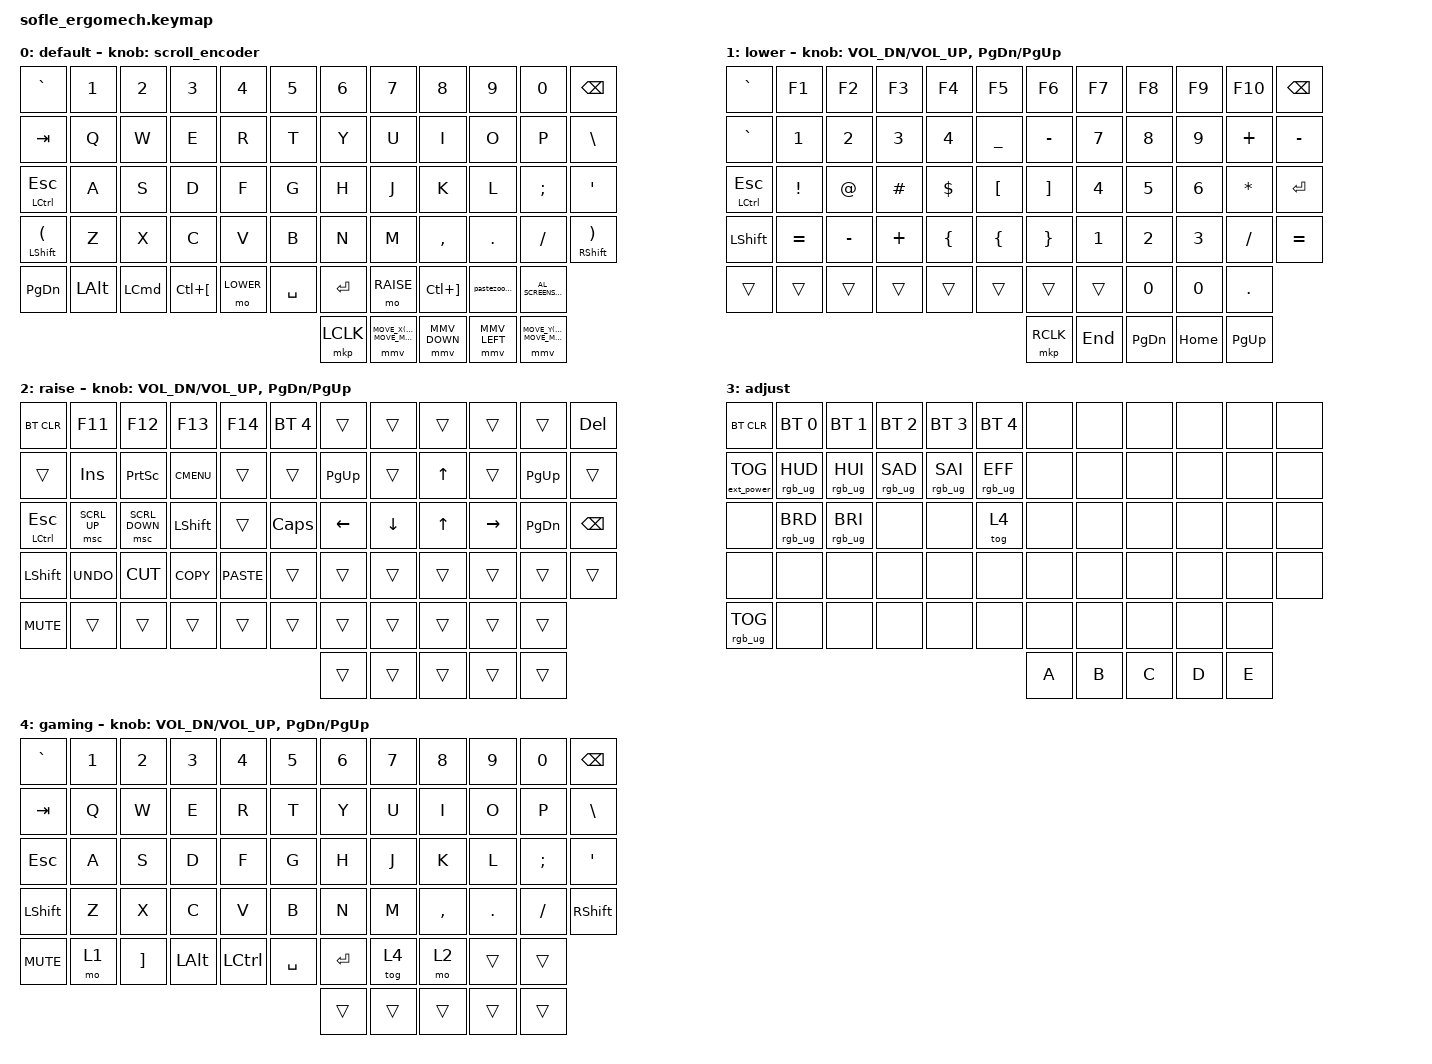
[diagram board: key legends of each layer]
/*
 * Copyright (c) 2020 The ZMK Contributors
 *
 * SPDX-License-Identifier: MIT
 */

#define ZMK_MOUSE_SCRL_VAL 200

#include <dt-bindings/zmk/mouse.h>
#include <behaviors.dtsi>
#include <dt-bindings/zmk/bt.h>
#include <dt-bindings/zmk/ext_power.h>
#include <dt-bindings/zmk/keys.h>
#include <dt-bindings/zmk/pointing.h>
#include <dt-bindings/zmk/rgb.h>

#define BASE 0
#define LOWER 1
#define RAISE 2
#define ADJUST 3
#define GAMING 4
#define TAP_MS 20

#undef MMV_UP
#undef MMV_DOWN
#undef MMV_LEFT
#undef MMV_RIGHT

#undef SCROLL_UP
#undef SCROLL_DOWN
#undef SCROLL_LEFT
#undef SCROLL_RIGHT

#define U_MOUSE_MOVE_MAX 3000
#define U_MOUSE_MOVE_DELAY 0
#define U_MOUSE_MOVE_EXPONENT 1
#define U_MOUSE_MOVE_TIME 220
#define U_MOUSE_SCROLL_MAX 100
#define U_MOUSE_SCROLL_DELAY 0
#define U_MOUSE_SCROLL_EXPONENT 1
#define U_MOUSE_SCROLL_TIME 0
#define MMV_UP 	    MOVE_Y(U_MOUSE_MOVE_MAX)
#define MMV_DOWN 	MOVE_Y(-U_MOUSE_MOVE_MAX)
#define MMV_LEFT 	MOVE_X(-U_MOUSE_MOVE_MAX)
#define MMV_RIGHT 	MOVE_X(U_MOUSE_MOVE_MAX)
#define SCROLL_UP 		MOVE_Y(U_MOUSE_SCROLL_MAX)
#define SCROLL_DOWN 	MOVE_Y(-U_MOUSE_SCROLL_MAX)
#define SCROLL_LEFT 	MOVE_X(-U_MOUSE_SCROLL_MAX)
#define SCROLL_RIGHT 	MOVE_X(U_MOUSE_SCROLL_MAX)
#define MWH_U 	&msc 	SCROLL_UP
#define MWH_D 	&msc 	SCROLL_DOWN
#define MWH_L	&msc 	SCROLL_LEFT
#define MWH_R 	&msc 	SCROLL_RIGHT

&mmv {
    delay-ms = <U_MOUSE_MOVE_DELAY>;
    acceleration-exponent = <U_MOUSE_MOVE_EXPONENT>;
    time-to-max-speed-ms = <U_MOUSE_MOVE_TIME>;
};

&msc {
    delay-ms = <U_MOUSE_SCROLL_DELAY>;
    acceleration-exponent = <U_MOUSE_SCROLL_EXPONENT>;
    time-to-max-speed-ms = <U_MOUSE_SCROLL_TIME>;
};

/ {
    // Activate ADJUST layer by pressing raise and lower

    behaviors {
        scroll_encoder: scroll_encoder {
            compatible = "zmk,behavior-sensor-rotate";
            #sensor-binding-cells = <0>;
            bindings = <&msc SCROLL_DOWN>, <&msc SCROLL_UP>;

            tap-ms = <TAP_MS>;
        };

        inc_dec_mwh: behavior_sensor_rotate_mouse_wheel {
            compatible = "zmk,behavior-sensor-rotate-var";
            label = "ENC_MOUSE_WHEEL";
            #sensor-binding-cells = <2>;
            bindings = <&msc>, <&msc>;

            tap-ms = <TAP_MS>;
        };
    };

    conditional_layers {
        compatible = "zmk,conditional-layers";

        adjust_layer {
            if-layers = <LOWER RAISE>;
            then-layer = <ADJUST>;
        };
    };

    macros {
        pastezoomlink: pastezoomlink {
            compatible = "zmk,behavior-macro";
            #binding-cells = <0>;
            bindings =
                <&none &kp H &kp T &kp T &kp P &kp S &kp COLON &kp FSLH &kp FSLH &kp L &kp A &kp T &kp T &kp I &kp C &kp E &kp H &kp Q &kp DOT &kp Z &kp O &kp O &kp M &kp DOT &kp U &kp S &kp FSLH &kp J &kp FSLH &kp N9 &kp N4 &kp N3 &kp N0 &kp N8 &kp N2 &kp N8 &kp N1 &kp N7 &kp N5 &kp N7 &kp QMARK &kp P &kp W &kp D &kp EQUAL &kp O &kp P &kp I &kp LS(N) &kp N &kp N4 &kp F &kp LS(J) &kp K &kp LS(H) &kp X &kp LS(A) &kp P &kp T &kp H &kp LS(T) &kp H &kp N &kp LS(O) &kp N6 &kp LS(F) &kp Y &kp A &kp G &kp N &kp LS(G) &kp K &kp LS(F) &kp LS(U) &kp G &kp DOT &kp N1>,
                <&macro_release>;

            label = "PASTEZOOMLINK";
        };
    };

    keymap {
        compatible = "zmk,keymap";

        default_layer {
            label = "default";

            // ------------------------------------------------------------------------------------------------------------
            // |   `   |  1  |  2  |  3   |  4   |  5   |                   |  6   |  7    |  8    |  9   |   0   |       |
            // |  ESC  |  Q  |  W  |  E   |  R   |  T   |                   |  Y   |  U    |  I    |  O   |   P   | BKSPC |
            // |  TAB  |  A  |  S  |  D   |  F   |  G   |                   |  H   |  J    |  K    |  L   |   ;   |   '   |
            // | SHIFT |  Z  |  X  |  C   |  V   |  B   |  MUTE  |  |       |  N   |  M    |  ,    |  .   |   /   | SHIFT |
            //               | GUI | ALT  | CTRL | LOWER|  ENTER |  | SPACE | RAISE| CTRL  | ALT   | GUI  |

            bindings = <
&kp GRAVE             &kp N1        &kp N2            &kp N3                &kp N4     &kp N5     &kp N6     &kp N7          &kp N8                 &kp N9          &kp N0                &kp BACKSPACE
&kp TAB               &kp Q         &kp W             &kp E                 &kp R      &kp T      &kp Y      &kp U           &kp I                  &kp O           &kp P                 &kp BSLH
&mt LEFT_CONTROL ESC  &kp A         &kp S             &kp D                 &kp F      &kp G      &kp H      &kp J           &kp K                  &kp L           &kp SEMI              &kp SQT
&mt LSHFT LPAR        &kp Z         &kp X             &kp C                 &kp V      &kp B      &kp N      &kp M           &kp COMMA              &kp DOT         &kp FSLH              &mt RIGHT_SHIFT RPAR
&kp PAGE_DOWN         &kp LEFT_ALT  &kp LEFT_COMMAND  &kp LC(LEFT_BRACKET)  &mo LOWER  &kp SPACE  &kp ENTER  &mo RAISE       &kp LC(RIGHT_BRACKET)  &pastezoomlink  &kp C_AL_SCREENSAVER
                                                                                                  &mkp LCLK  &mmv MMV_RIGHT  &mmv MMV_DOWN          &mmv MMV_LEFT   &mmv MMV_UP
            >;

            sensor-bindings = <&scroll_encoder>;

            // <&inc_dec_mwh SCROLL_DOWN SCROLL_UP &inc_dec_mwh SCROLL_RIGHT SCROLL_LEFT>;;
            //<&inc_dec_kp C_AC_SCROLL_DOWN C_AC_SCROLL_UP>,
            //<&inc_dec_kp PG_DN PG_UP>;
            // TODO: update this when ZMK supports scroll bindings
            // sensor-bindings = <&inc_dec_kp C_AC_SCROLL_DOWN C_AC_SCROLL_UP &inc_dec_kp PG_DN PG_UP>;
        };

        lower_layer {
            label = "lower";

            // TODO: Some binds are waiting for shifted keycode support.
            // ------------------------------------------------------------------------------------------------------------
            // |       |  F1 |  F2 |  F3  |  F4  |  F5  |                   |  F6  |  F7   |  F8   |  F9  |  F10  |  F11  |
            // |   `   |  1  |  2  |  3   |  4   |  5   |                   |  6   |  7    |  8    |  9   |   0   |  F12  |
            // |       |  !  |  @  |  #   |  $   |  %   |                   |  ^   |  &    |  *    |  (   |   )   |   |   |
            // |       |  =  |  -  |  +   |  {   |  }   |        |  |       |  [   |  ]    |  ;    |  :   |   \   |       |
            //               |     |      |      |      |        |  |       |      |       |       |      |

            bindings = <
&kp GRAVE             &kp F1     &kp F2     &kp F3    &kp F4    &kp F5            &kp F6             &kp F7   &kp F8         &kp F9    &kp F10       &kp BACKSPACE
&kp GRAVE             &kp N1     &kp N2     &kp N3    &kp N4    &kp UNDERSCORE    &kp MINUS          &kp N7   &kp N8         &kp N9    &kp PLUS      &kp MINUS
&mt LEFT_CONTROL ESC  &kp EXCL   &kp AT     &kp HASH  &kp DLLR  &kp LEFT_BRACKET  &kp RIGHT_BRACKET  &kp N4   &kp N5         &kp N6    &kp ASTERISK  &kp ENTER
&kp LEFT_SHIFT        &kp EQUAL  &kp MINUS  &kp PLUS  &kp LBRC  &kp LEFT_BRACE    &kp RIGHT_BRACE    &kp N1   &kp N2         &kp N3    &kp SLASH     &kp EQUAL
&trans                &trans     &trans     &trans    &trans    &trans            &trans             &trans   &kp N0         &kp N0    &kp PERIOD
                                                                                  &mkp RCLK          &kp END  &kp PAGE_DOWN  &kp HOME  &kp PAGE_UP
            >;

            // sensor-bindings = <&inc_dec_kp C_VOL_UP C_VOL_DN &inc_dec_kp PG_UP PG_DN>;

            sensor-bindings = <&inc_dec_kp C_VOL_DN C_VOL_UP &inc_dec_kp PG_DN PG_UP>;
        };

        raise_layer {
            label = "raise";

            // ------------------------------------------------------------------------------------------------------------
            // | BTCLR | BT1  | BT2  |  BT3  |  BT4  |  BT5 |                |      |      |       |      |       |       |
            // |       | INS  | PSCR | GUI   |       |      |                | PGUP |      |   ^   |      |       |       |
            // |       | ALT  | CTRL | SHIFT |       | CAPS |                | PGDN |   <- |   v   |  ->  |  DEL  | BKSPC |
            // |       | UNDO | CUT  | COPY  | PASTE |      |      |  |      |      |      |       |      |       |       |
            //                |      |       |       |      |      |  |      |      |      |       |      |

            bindings = <
&bt BT_CLR            &kp F11       &kp F12         &kp F13      &kp F14      &bt BT_SEL 4  &trans     &trans    &trans  &trans     &trans         &kp DEL
&trans                &kp INS       &kp PSCRN       &kp K_CMENU  &trans       &trans        &kp PG_UP  &trans    &kp UP  &trans     &kp PAGE_UP    &trans
&mt LEFT_CONTROL ESC  &msc SCRL_UP  &msc SCRL_DOWN  &kp LSHFT    &trans       &kp CLCK      &kp LEFT   &kp DOWN  &kp UP  &kp RIGHT  &kp PAGE_DOWN  &kp BSPC
&kp LEFT_SHIFT        &kp K_UNDO    &kp K_CUT       &kp K_COPY   &kp K_PASTE  &trans        &trans     &trans    &trans  &trans     &trans         &trans
&kp C_MUTE            &trans        &trans          &trans       &trans       &trans        &trans     &trans    &trans  &trans     &trans
                                                                                            &trans     &trans    &trans  &trans     &trans
            >;

            sensor-bindings = <&inc_dec_kp C_VOL_DN C_VOL_UP &inc_dec_kp PG_DN PG_UP>;
        };

        adjust_layer {
            // ----------------------------------------------------------------------------------------------------------------------------
            // | BTCLR  |  BT1    |  BT2    |   BT3   |   BT4   |   BT5   |                  |      |      |       |      |       |       |
            // | EXTPWR | RGB_HUD | RGB_HUI | RGB_SAD | RGB_SAI | RGB_EFF |                  |      |      |       |      |       |       |
            // |        | RGB_BRD | RGB_BRI |         |         |         |                  |      |      |       |      |       |       |
            // |        |         |         |         |         |         | RGB_TOG | |      |      |      |       |      |       |       |
            //                    |         |         |         |         |         | |      |      |      |       |      |

            label = "adjust";
            bindings = <
&bt BT_CLR         &bt BT_SEL 0     &bt BT_SEL 1     &bt BT_SEL 2     &bt BT_SEL 3     &bt BT_SEL 4     &none  &none  &none  &none  &none  &none
&ext_power EP_TOG  &rgb_ug RGB_HUD  &rgb_ug RGB_HUI  &rgb_ug RGB_SAD  &rgb_ug RGB_SAI  &rgb_ug RGB_EFF  &none  &none  &none  &none  &none  &none
&none              &rgb_ug RGB_BRD  &rgb_ug RGB_BRI  &none            &none            &tog 4           &none  &none  &none  &none  &none  &none
&none              &none            &none            &none            &none            &none            &none  &none  &none  &none  &none  &none
&rgb_ug RGB_TOG    &none            &none            &none            &none            &none            &none  &none  &none  &none  &none
                                                                                                        &kp A  &kp B  &kp C  &kp D  &kp E
            >;
        };

        gaming_layer {
            label = "gaming";
            bindings = <
&kp GRAVE       &kp N1  &kp N2             &kp N3        &kp N4            &kp N5     &kp N6     &kp N7  &kp N8     &kp N9   &kp N0    &kp BSPC
&kp TAB         &kp Q   &kp W              &kp E         &kp R             &kp T      &kp Y      &kp U   &kp I      &kp O    &kp P     &kp BSLH
&kp ESC         &kp A   &kp S              &kp D         &kp F             &kp G      &kp H      &kp J   &kp K      &kp L    &kp SEMI  &kp SQT
&kp LEFT_SHIFT  &kp Z   &kp X              &kp C         &kp V             &kp B      &kp N      &kp M   &kp COMMA  &kp DOT  &kp FSLH  &kp RIGHT_SHIFT
&kp C_MUTE      &mo 1   &kp RIGHT_BRACKET  &kp LEFT_ALT  &kp LEFT_CONTROL  &kp SPACE  &kp ENTER  &tog 4  &mo 2      &trans   &trans
                                                                                      &trans     &trans  &trans     &trans   &trans
            >;

            sensor-bindings = <&inc_dec_kp C_VOL_DN C_VOL_UP &inc_dec_kp PG_DN PG_UP>;
        };
    };
};
